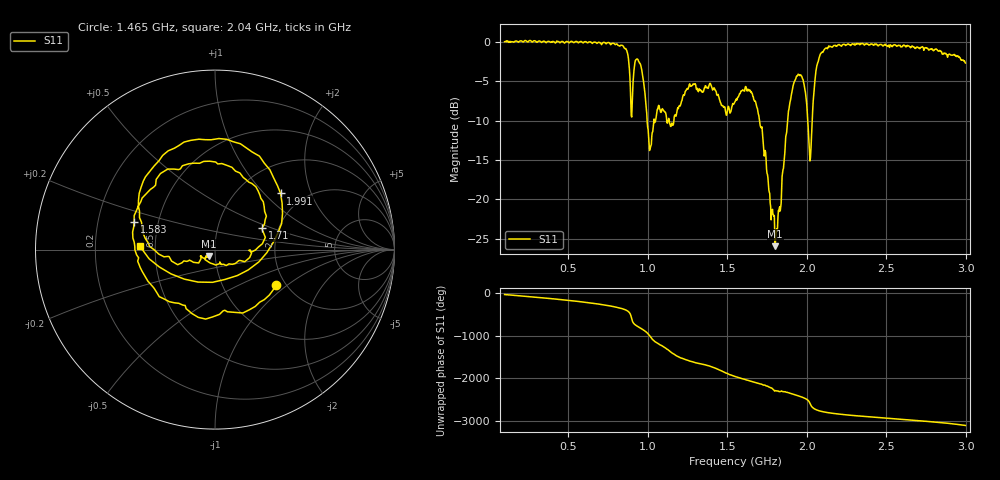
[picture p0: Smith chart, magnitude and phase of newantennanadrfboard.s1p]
# HZ S RI R 50
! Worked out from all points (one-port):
!   1009 points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, 100 MHz to 2.997 GHz, reference 50 ohm
!   lowest |S11| = -26.0 dB at 1.801 GHz (marker M1), VSWR 1.11, Z = 46.5 - j3.35 ohm
!   |S11| at or under -10 dB: 996.1 MHz to 1.039 GHz (42.79 MHz wide, 4.21 % of centre); 1.135 GHz to 1.164 GHz (29.39 MHz wide, 2.56 % of centre); 1.703 GHz to 1.879 GHz (176.6 MHz wide, 9.86 % of centre)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
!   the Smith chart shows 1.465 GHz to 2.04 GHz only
!   S11 on the Smith chart (normalised r, x): 1.465 GHz: 1.78, -0.84; 1.583 GHz: 0.36, +0.15; 1.71 GHz: 1.64, +0.43; 1.991 GHz: 1.53, +1.25; 2.04 GHz: 0.41, +0.02
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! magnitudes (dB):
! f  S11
! 100 MHz  0.0
! 462.1 MHz  0.1
! 824.3 MHz  -0.5
! 867.4 MHz  -1.0
! 899 MHz  -9.5
! 924.9 MHz  -2.3
! 950.7 MHz  -2.7
! 1.014 GHz  -13.6
! 1.069 GHz  -8.0
! 1.186 GHz  -8.5
! 1.287 GHz  -5.3
! 1.465 GHz  -8.1
! 1.549 GHz  -7.6
! 1.583 GHz  -6.4
! 1.649 GHz  -6.4
! 1.71 GHz  -10.8
! 1.801 GHz  -26.0
! 1.824 GHz  -21.6
! 1.911 GHz  -5.9
! 1.957 GHz  -4.3
! 1.991 GHz  -6.4
! 2.017 GHz  -14.4
! 2.04 GHz  -7.6
! 2.06 GHz  -3.3
! 2.092 GHz  -1.3
! 2.273 GHz  -0.4
! 2.635 GHz  -0.4
! 2.997 GHz  -2.7
